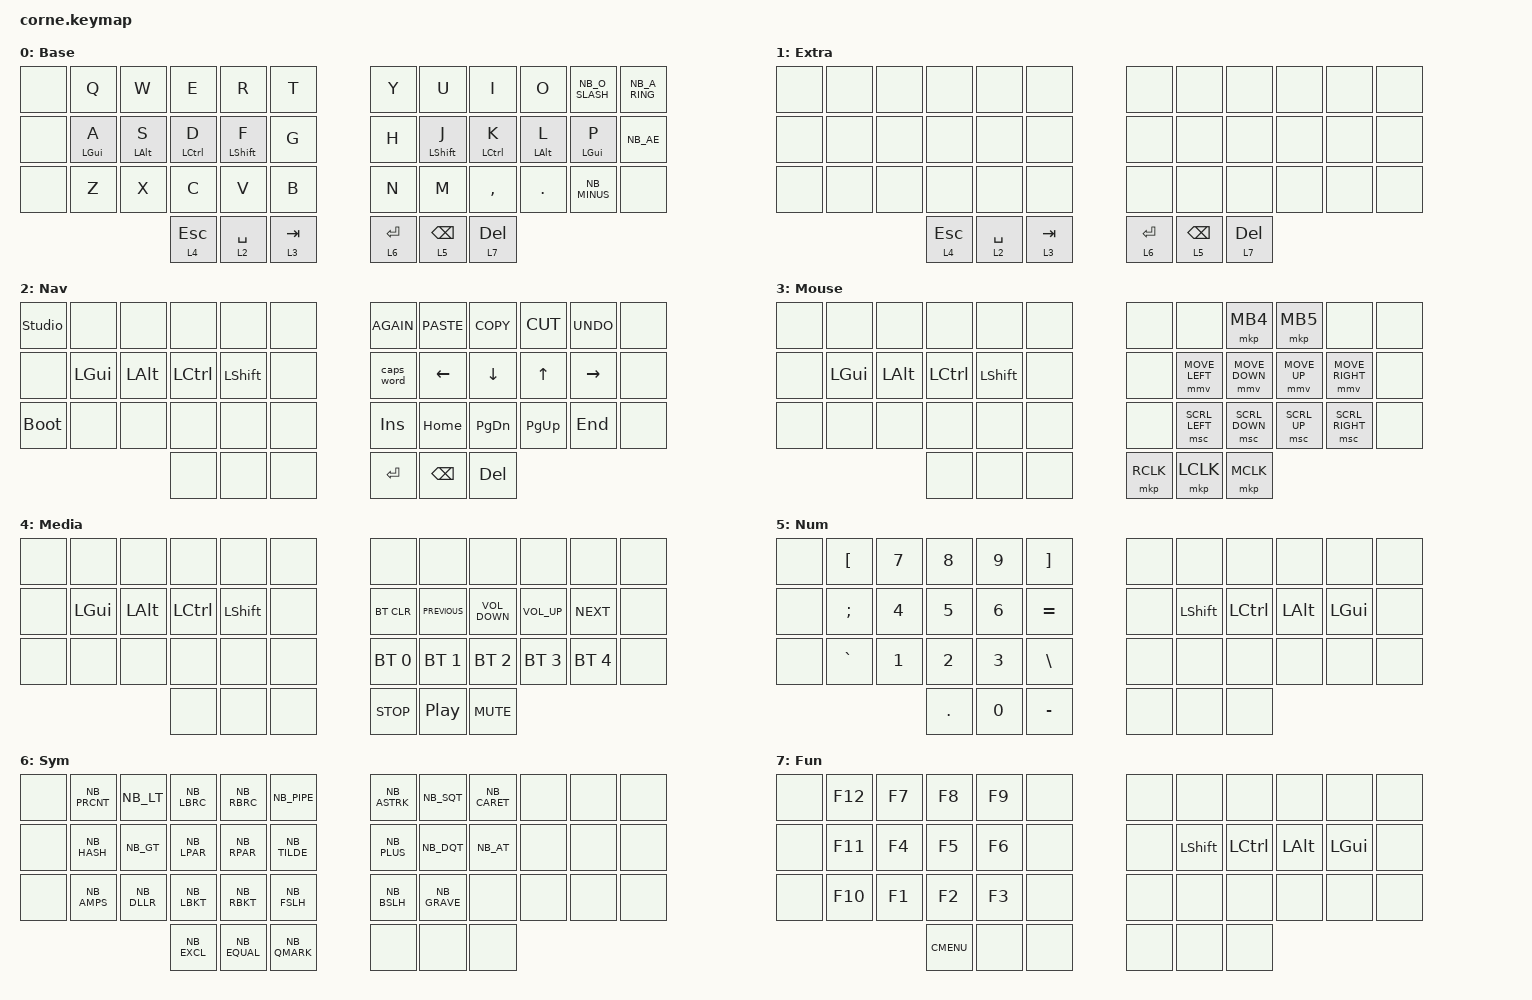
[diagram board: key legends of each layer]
/*
 * Copyright (c) 2020 The ZMK Contributors
 *
 * SPDX-License-Identifier: MIT
 */

#include <behaviors.dtsi>
#include <dt-bindings/zmk/bt.h>
#include <dt-bindings/zmk/keys.h>
#include <dt-bindings/zmk/mouse.h>

#define ZMK_POINTING_DEFAULT_MOVE_VAL 1200  // default: 600
#define ZMK_POINTING_DEFAULT_SCRL_VAL 20    // default: 10
#include <dt-bindings/zmk/pointing.h>

#include <locale/keys_nb.h>

/ {
	behaviors {
        	hml: home_row_mod_left {
            		compatible = "zmk,behavior-hold-tap";
            		#binding-cells = <2>;
           		flavor = "balanced";
            		require-prior-idle-ms = <150>;
            		tapping-term-ms = <280>;
            		quick-tap-ms = <175>;
            		bindings = <&kp>, <&kp>;
            		hold-trigger-key-positions = <
				0  1  2  3  4  5
				12 13 14 15 16 17
				24 25 26 27 28 29
				         36 37 38 39 40 41
			>;
			hold-trigger-on-release;
        	};
       		hmr: home_row_mod_right {
            		compatible = "zmk,behavior-hold-tap";
            		#binding-cells = <2>;
            		flavor = "balanced";
            		require-prior-idle-ms = <150>;
            		tapping-term-ms = <280>;
            		quick-tap-ms = <175>;
            		bindings = <&kp>, <&kp>;
            		hold-trigger-key-positions = <
				         6  7  8  9  10 11
				         18 19 20 21 22 23
				         30 31 32 33 34 35
				36 37 38 39 40 41
			>; 
			hold-trigger-on-release;
        	};
    	};

        keymap {
                compatible = "zmk,keymap";



                base {
                        display-name = "Base";
                        bindings = <
   &none &kp Q       &kp W       &kp E        &kp R        &kp T          &kp Y     &kp U        &kp I        &kp O       &kp NB_O_SLASH &kp NB_A_RING
   &none &hml LGUI A &hml LALT S &hml LCTRL D &hml LSHFT F &kp G          &kp H     &hmr LSHFT J &hmr LCTRL K &hmr LALT L &hmr LGUI P    &kp NB_AE
   &none &kp Z       &kp X       &kp C        &kp V        &kp B          &kp N     &kp M        &kp COMMA    &kp DOT     &kp NB_MINUS   &none
                                 &lt 4 ESC    &lt 2 SPACE  &lt 3 TAB      &lt 6 RET &lt 5 BSPC   &lt 7 DEL
                        >;
                };

                extra {
                        display-name = "Extra";
                        bindings = <
   &none &none &none &none     &none       &none          &none     &none       &none     &none &none &none 
   &none &none &none &none     &none       &none          &none     &none       &none     &none &none &none 
   &none &none &none &none     &none       &none          &none     &none       &none     &none &none &none 
                     &lt 4 ESC &lt 2 SPACE &lt 3 TAB      &lt 6 RET &lt 5 BSPC  &lt 7 DEL
                        >;
                };

                nav {
                        display-name = "Nav";
                        bindings = <
   &studio_unlock &none    &none    &none     &none     &none      &kp K_AGAIN &kp K_PASTE &kp K_COPY &kp K_CUT &kp K_UNDO &none
   &none          &kp LGUI &kp LALT &kp LCTRL &kp LSHFT &none      &caps_word  &kp LEFT    &kp DOWN   &kp UP    &kp RIGHT  &none
   &bootloader    &none    &none    &none     &none     &none      &kp INS     &kp HOME    &kp PG_DN  &kp PG_UP &kp END    &none
                                    &none     &none     &none      &kp RET     &kp BSPC    &kp DEL
                        >;
                };

                mouse {
                        display-name = "Mouse";
                        bindings = <
   &none &none    &none    &none     &none     &none      &none     &none          &mkp MB4       &mkp MB5     &none           &none
   &none &kp LGUI &kp LALT &kp LCTRL &kp LSHFT &none      &none     &mmv MOVE_LEFT &mmv MOVE_DOWN &mmv MOVE_UP &mmv MOVE_RIGHT &none
   &none &none    &none    &none     &none     &none      &none     &msc SCRL_LEFT &msc SCRL_DOWN &msc SCRL_UP &msc SCRL_RIGHT &none
                           &none     &none     &none      &mkp RCLK &mkp LCLK &mkp MCLK
                        >;
                };

                media {
                        display-name = "Media";
                        bindings = <
   &none &none    &none    &none     &none     &none      &none        &none            &none             &none           &none        &none
   &none &kp LGUI &kp LALT &kp LCTRL &kp LSHFT &none      &bt BT_CLR   &kp C_PREVIOUS   &kp C_VOLUME_DOWN &kp C_VOLUME_UP &kp C_NEXT   &none
   &none &none    &none    &none     &none     &none      &bt BT_SEL 0 &bt BT_SEL 1     &bt BT_SEL 2      &bt BT_SEL 3    &bt BT_SEL 4 &none
                           &none     &none     &none      &kp C_STOP   &kp C_PLAY_PAUSE &kp C_MUTE
                        >;
                };

                num {
                        display-name = "Num";
                        bindings = <
   &none &kp LBKT  &kp N7 &kp N8  &kp N9 &kp RBKT       &none &none     &none     &none    &none    &none 
   &none &kp SEMI  &kp N4 &kp N5  &kp N6 &kp EQUAL      &none &kp LSHFT &kp LCTRL &kp LALT &kp LGUI &none 
   &none &kp GRAVE &kp N1 &kp N2  &kp N3 &kp BSLH       &none &none     &none     &none    &none    &none
                          &kp DOT &kp N0 &kp MINUS      &none &none     &none
                        >;
                };

                sym {
                        display-name = "Sym";
                        bindings = <
   &none &kp NB_PRCNT &kp NB_LT   &kp NB_LBRC &kp NB_RBRC  &kp NB_PIPE       &kp NB_ASTRK &kp NB_SQT   &kp NB_CARET &none &none &none 
   &none &kp NB_HASH  &kp NB_GT   &kp NB_LPAR &kp NB_RPAR  &kp NB_TILDE      &kp NB_PLUS  &kp NB_DQT   &kp NB_AT    &none &none &none
   &none &kp NB_AMPS  &kp NB_DLLR &kp NB_LBKT &kp NB_RBKT  &kp NB_FSLH       &kp NB_BSLH  &kp NB_GRAVE &none        &none &none &none
                                  &kp NB_EXCL &kp NB_EQUAL &kp NB_QMARK      &none        &none        &none
                        >;
                };

                fun {
                        display-name = "Fun";
                        bindings = <
   &none &kp F12 &kp F7 &kp F8      &kp F9 &none      &none &none     &none     &none    &none    &none 
   &none &kp F11 &kp F4 &kp F5      &kp F6 &none      &none &kp LSHFT &kp LCTRL &kp LALT &kp LGUI &none 
   &none &kp F10 &kp F1 &kp F2      &kp F3 &none      &none &none     &none     &none    &none    &none
                        &kp K_CMENU &none  &none      &none &none     &none
                        >;
                };
        };
};
